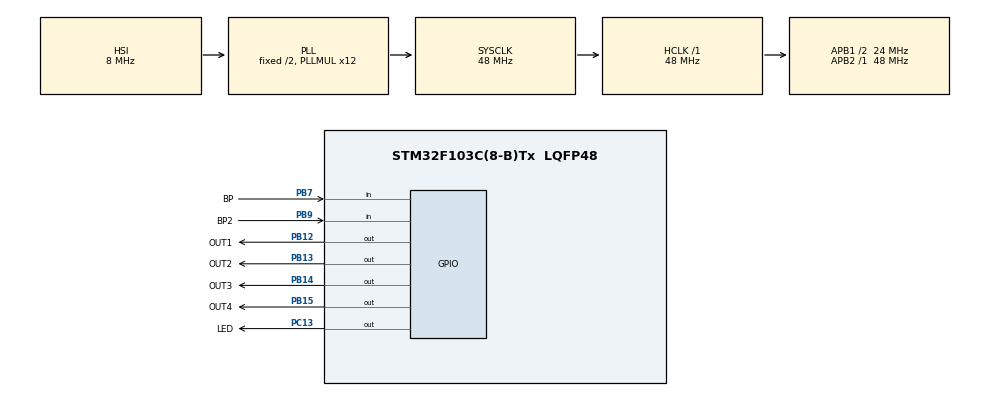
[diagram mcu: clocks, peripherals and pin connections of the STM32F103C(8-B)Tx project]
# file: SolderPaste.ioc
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Mcu.Family=STM32F1
Mcu.Name=STM32F103C(8-B)Tx
Mcu.Package=LQFP48
NVIC.PriorityGroup=NVIC_PRIORITYGROUP_4
PA13.Mode=Serial_Wire
PA13.Signal=SYS_JTMS-SWDIO
PA14.Mode=Serial_Wire
PA14.Signal=SYS_JTCK-SWCLK
PB12.GPIO_Label=OUT1
PB12.Signal=GPIO_Output
PB13.GPIO_Label=OUT2
PB13.Signal=GPIO_Output
PB14.GPIO_Label=OUT3
PB14.Signal=GPIO_Output
PB15.GPIO_Label=OUT4
PB15.Signal=GPIO_Output
PB7.GPIO_Label=BP
PB7.GPIO_PuPd=GPIO_PULLUP
PB7.Signal=GPIO_Input
PB9.GPIO_Label=BP2
PB9.GPIO_PuPd=GPIO_PULLUP
PB9.Signal=GPIO_Input
PC13-TAMPER-RTC.GPIO_Label=LED
PC13-TAMPER-RTC.Signal=GPIO_Output
ProjectManager.HeapSize=0x200
ProjectManager.StackSize=0x400
ProjectManager.TargetToolchain=STM32CubeIDE
RCC.AHBFreq_Value=48000000
RCC.APB1CLKDivider=RCC_HCLK_DIV2
RCC.APB1Freq_Value=24000000
RCC.APB1TimFreq_Value=48000000
RCC.APB2Freq_Value=48000000
RCC.APB2TimFreq_Value=48000000
RCC.HCLKFreq_Value=48000000
RCC.PLLMUL=RCC_PLL_MUL12
RCC.SYSCLKFreq_VALUE=48000000
RCC.SYSCLKSource=RCC_SYSCLKSOURCE_PLLCLK
RCC.USBFreq_Value=48000000
board=custom

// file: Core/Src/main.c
/* USER CODE BEGIN Header */
/**
  ******************************************************************************
  * @file           : main.c
  * @brief          : Main program body
  ******************************************************************************
  * @attention
  *
  * <h2><center>&copy; Copyright (c) 2021 STMicroelectronics.
  * All rights reserved.</center></h2>
  *
  * This software component is licensed by ST under BSD 3-Clause license,
  * the "License"; You may not use this file except in compliance with the
  * License. You may obtain a copy of the License at:
  *                        opensource.org/licenses/BSD-3-Clause
  *
  ******************************************************************************
  */
/* USER CODE END Header */

#include "main.h"

/* USER CODE BEGIN PTD */
#define	FORWARD			0
#define	REVERSE			1
/* USER CODE END PTD */

void SystemClock_Config(void);
static void MX_GPIO_Init(void);

int main(void)
{

  /* MCU Configuration--------------------------------------------------------*/

  /* Reset of all peripherals, Initializes the Flash interface and the Systick. */
  HAL_Init();

  /* Configure the system clock */
  SystemClock_Config();

  /* Initialize all configured peripherals */
  MX_GPIO_Init();

  /* Infinite loop */
  /* USER CODE BEGIN WHILE */
  while (1)
  {

	  if(!HAL_GPIO_ReadPin(BP_GPIO_Port, BP_Pin))
	  {
		  HAL_Delay(10);
		  HAL_GPIO_WritePin(LED_GPIO_Port, LED_Pin, GPIO_PIN_RESET);
		  NewStep(REVERSE);
		  HAL_Delay(10);
		  HAL_GPIO_WritePin(LED_GPIO_Port, LED_Pin, GPIO_PIN_SET);
		  NewStep(REVERSE);
	  }
    /* USER CODE END WHILE */

  }
}

void SystemClock_Config(void)
{
  RCC_OscInitTypeDef RCC_OscInitStruct = {0};
  RCC_ClkInitTypeDef RCC_ClkInitStruct = {0};

  /** Initializes the CPU, AHB and APB busses clocks
  */
  RCC_OscInitStruct.OscillatorType = RCC_OSCILLATORTYPE_HSI;
  RCC_OscInitStruct.HSIState = RCC_HSI_ON;
  RCC_OscInitStruct.HSICalibrationValue = RCC_HSICALIBRATION_DEFAULT;
  RCC_OscInitStruct.PLL.PLLState = RCC_PLL_ON;
  RCC_OscInitStruct.PLL.PLLSource = RCC_PLLSOURCE_HSI_DIV2;
  RCC_OscInitStruct.PLL.PLLMUL = RCC_PLL_MUL12;
  if (HAL_RCC_OscConfig(&RCC_OscInitStruct) != HAL_OK)
  {
    Error_Handler();
  }
  /** Initializes the CPU, AHB and APB busses clocks
  */
  RCC_ClkInitStruct.ClockType = RCC_CLOCKTYPE_HCLK|RCC_CLOCKTYPE_SYSCLK
                              |RCC_CLOCKTYPE_PCLK1|RCC_CLOCKTYPE_PCLK2;
  RCC_ClkInitStruct.SYSCLKSource = RCC_SYSCLKSOURCE_PLLCLK;
  RCC_ClkInitStruct.AHBCLKDivider = RCC_SYSCLK_DIV1;
  RCC_ClkInitStruct.APB1CLKDivider = RCC_HCLK_DIV2;
  RCC_ClkInitStruct.APB2CLKDivider = RCC_HCLK_DIV1;

  if (HAL_RCC_ClockConfig(&RCC_ClkInitStruct, FLASH_LATENCY_1) != HAL_OK)
  {
    Error_Handler();
  }
}

static void MX_GPIO_Init(void)
{
  GPIO_InitTypeDef GPIO_InitStruct = {0};

  /* GPIO Ports Clock Enable */
  __HAL_RCC_GPIOC_CLK_ENABLE();
  __HAL_RCC_GPIOB_CLK_ENABLE();
  __HAL_RCC_GPIOA_CLK_ENABLE();

  /*Configure GPIO pin Output Level */
  HAL_GPIO_WritePin(LED_GPIO_Port, LED_Pin, GPIO_PIN_RESET);

  /*Configure GPIO pin Output Level */
  HAL_GPIO_WritePin(GPIOB, OUT1_Pin|OUT2_Pin|OUT3_Pin|OUT4_Pin, GPIO_PIN_RESET);

  /*Configure GPIO pin : LED_Pin */
  GPIO_InitStruct.Pin = LED_Pin;
  GPIO_InitStruct.Mode = GPIO_MODE_OUTPUT_PP;
  GPIO_InitStruct.Pull = GPIO_NOPULL;
  GPIO_InitStruct.Speed = GPIO_SPEED_FREQ_LOW;
  HAL_GPIO_Init(LED_GPIO_Port, &GPIO_InitStruct);

  /*Configure GPIO pins : OUT1_Pin OUT2_Pin OUT3_Pin OUT4_Pin */
  GPIO_InitStruct.Pin = OUT1_Pin|OUT2_Pin|OUT3_Pin|OUT4_Pin;
  GPIO_InitStruct.Mode = GPIO_MODE_OUTPUT_PP;
  GPIO_InitStruct.Pull = GPIO_NOPULL;
  GPIO_InitStruct.Speed = GPIO_SPEED_FREQ_LOW;
  HAL_GPIO_Init(GPIOB, &GPIO_InitStruct);

  /*Configure GPIO pin : BP_Pin */
  GPIO_InitStruct.Pin = BP_Pin;
  GPIO_InitStruct.Mode = GPIO_MODE_INPUT;
  GPIO_InitStruct.Pull = GPIO_PULLUP;
  HAL_GPIO_Init(BP_GPIO_Port, &GPIO_InitStruct);

}

/* USER CODE BEGIN 4 */
void NewStep(uint8_t direction)
{
	static uint8_t cpt=0;

	switch(cpt)
	{
	case 0:
		HAL_GPIO_WritePin(GPIOB, OUT1_Pin, GPIO_PIN_SET);
		HAL_GPIO_WritePin(GPIOB, OUT2_Pin, GPIO_PIN_RESET);
		HAL_GPIO_WritePin(GPIOB, OUT3_Pin, GPIO_PIN_RESET);
		HAL_GPIO_WritePin(GPIOB, OUT4_Pin, GPIO_PIN_SET);
		break;

	case 1:
		HAL_GPIO_WritePin(GPIOB, OUT1_Pin, GPIO_PIN_RESET);
		HAL_GPIO_WritePin(GPIOB, OUT2_Pin, GPIO_PIN_RESET);
		HAL_GPIO_WritePin(GPIOB, OUT3_Pin, GPIO_PIN_SET);
		HAL_GPIO_WritePin(GPIOB, OUT4_Pin, GPIO_PIN_SET);
		break;

	case 2:
		HAL_GPIO_WritePin(GPIOB, OUT1_Pin, GPIO_PIN_RESET);
		HAL_GPIO_WritePin(GPIOB, OUT2_Pin, GPIO_PIN_SET);
		HAL_GPIO_WritePin(GPIOB, OUT3_Pin, GPIO_PIN_SET);
		HAL_GPIO_WritePin(GPIOB, OUT4_Pin, GPIO_PIN_RESET);
		break;

	case 3:
		HAL_GPIO_WritePin(GPIOB, OUT1_Pin, GPIO_PIN_SET);
		HAL_GPIO_WritePin(GPIOB, OUT2_Pin, GPIO_PIN_SET);
		HAL_GPIO_WritePin(GPIOB, OUT3_Pin, GPIO_PIN_RESET);
		HAL_GPIO_WritePin(GPIOB, OUT4_Pin, GPIO_PIN_RESET);
		break;

	default:
		HAL_GPIO_WritePin(GPIOB, OUT1_Pin, GPIO_PIN_RESET);
		HAL_GPIO_WritePin(GPIOB, OUT2_Pin, GPIO_PIN_RESET);
		HAL_GPIO_WritePin(GPIOB, OUT3_Pin, GPIO_PIN_RESET);
		HAL_GPIO_WritePin(GPIOB, OUT4_Pin, GPIO_PIN_RESET);
		break;
	}

	if(direction == FORWARD)
	{
		if(cpt==3)
			cpt=0;
		else
			cpt++;
	}

	if(direction == REVERSE)
	{
		if(cpt==0)
			cpt=3;
		else
			cpt--;
	}
}
/* USER CODE END 4 */

void Error_Handler(void)
{
}

/************************ (C) COPYRIGHT STMicroelectronics *****END OF FILE****/
